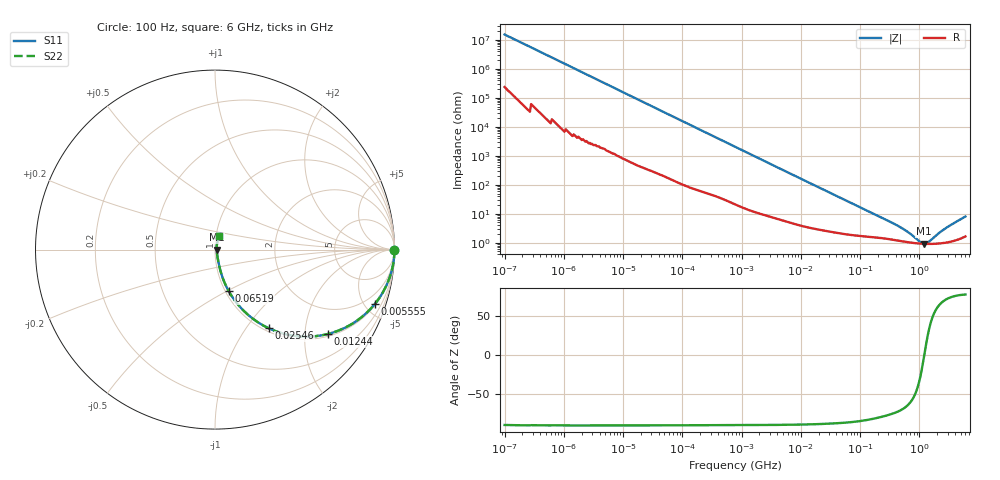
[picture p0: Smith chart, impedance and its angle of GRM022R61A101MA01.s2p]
!Murata Part Number: GRM022R61A101MA01
!These Parameters are Measured in Series Mode Connection
!Data Generated on Mar 30, 2021
!  o--ll--o
!Port1  Port2
!  o------o
!Operation Temp=25[degC], DC Bias Voltage=0[V]
!Freq. Start=100[Hz] Stop=6[GHz] 401[Steps]
# Hz S RI R 50
!Freq.(Hz) S11(Real) S11(Imag) S21(Real) S21(Imag) S12(Real) S12(Imag) S22(Real) S22(Imag)
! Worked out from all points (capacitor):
!   401 points, 100 Hz to 6 GHz, reference 50 ohm
!   read as one part in series: C = 103 pF near 109 Hz
!   lowest |Z| = 919 mohm at 1.197 GHz (marker M1)
!   series resonance near 1.211 GHz, so ESL is about 170 pH
!   S11 on the Smith chart (normalised r, x): 100 Hz: open; 5.555 MHz: 1.11, -5.80; 12.44 MHz: 1.07, -2.61; 25.46 MHz: 1.05, -1.29; 65.19 MHz: 1.04, -0.51; 6 GHz: 1.03, +0.16
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100  1 -6.5e-06  1e-07 6.5e-06  1e-07 6.5e-06  1 -6.5e-06
1404  1 -9.04e-05  4e-07 9.04e-05  4e-07 9.04e-05  1 -9.04e-05
2008  1 -0.000129  6e-07 0.000129  6e-07 0.000129  1 -0.000129
40335  1 -0.00257  2.21e-05 0.00257  2.21e-05 0.00257  1 -0.00257
774597  0.9971 -0.0485  0.00286 0.0485  0.00286 0.0485  0.9971 -0.0485
2268635  0.9785 -0.1384  0.0215 0.1384  0.0215 0.1384  0.9785 -0.1384
5554849  0.8894 -0.3044  0.1106 0.3044  0.1106 0.3044  0.8894 -0.3044
8311524  0.7862 -0.3992  0.2138 0.3992  0.2138 0.3992  0.7862 -0.3992
1.243624e7  0.6272 -0.4704  0.3728 0.4704  0.3728 0.4704  0.6272 -0.4704
1.555665e7  0.5221 -0.4847  0.4779 0.4847  0.4779 0.4847  0.5221 -0.4847
2.545746e7  0.3001 -0.4386  0.6999 0.4386  0.6999 0.4386  0.3001 -0.4386
3.983537e7  0.1591 -0.3401  0.8409 0.3401  0.8409 0.3401  0.1591 -0.3401
6.518806e7  0.0761 -0.2305  0.9239 0.2305  0.9239 0.2305  0.0761 -0.2305
1.334425e8  0.0306 -0.1194  0.9694 0.1194  0.9694 0.1194  0.0306 -0.1194
3.124326e8  0.0158 -0.0515  0.9842 0.0515  0.9842 0.0515  0.0158 -0.0515
5.59173e8  0.0114 -0.0256  0.9886 0.0256  0.9886 0.0256  0.0114 -0.0256
1.046602e9  0.00926 -0.00456  0.9907 0.00456  0.9907 0.00456  0.00926 -0.00456
1.197065e9  0.0091 -0.000365  0.9909 0.000365  0.9909 0.000365  0.0091 -0.000365
1.431855e9  0.00905 0.00528  0.991 -0.00528  0.991 -0.00528  0.00905 0.00528
2.142435e9  0.00967 0.019  0.9903 -0.019  0.9903 -0.019  0.00967 0.019
3.065283e9  0.0114 0.0337  0.9886 -0.0337  0.9886 -0.0337  0.0114 0.0337
6e9  0.0221 0.0755  0.9779 -0.0755  0.9779 -0.0755  0.0221 0.0755
